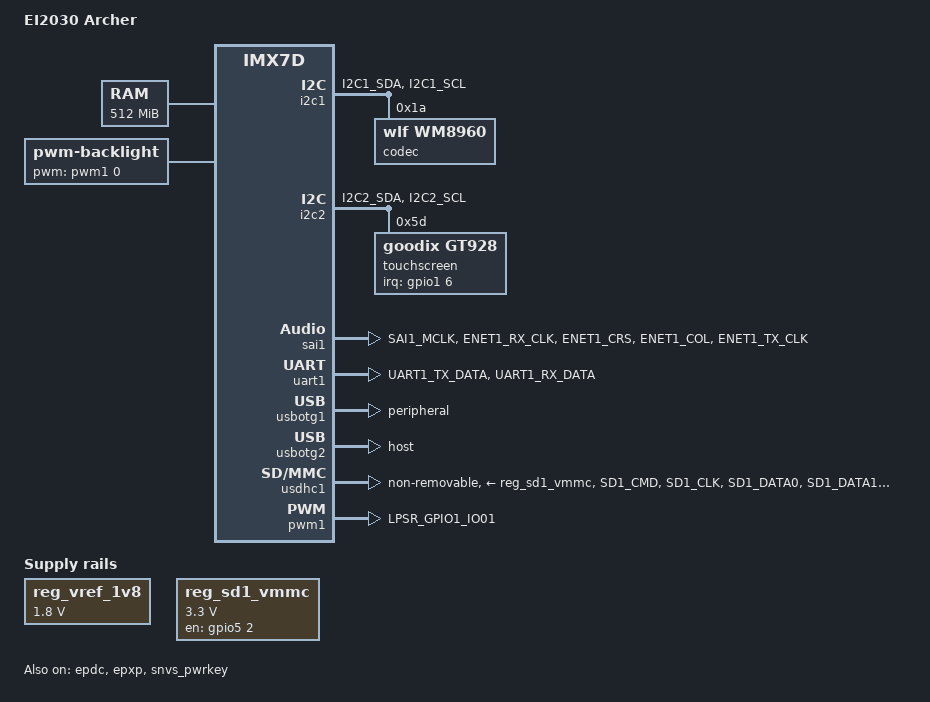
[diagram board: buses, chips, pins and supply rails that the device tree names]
// SPDX-License-Identifier: GPL-2.0+ OR MIT
//
// Copyright (C) 2015 Freescale Semiconductor, Inc.
// Copyright (C) 2021 Wenting Zhang

/dts-v1/;

#include "imx7d.dtsi"

/ {
	model = "EI2030 Archer";
	compatible = "ei2030,archer", "fsl,imx7d";

	chosen {
		stdout-path = &uart1;
	};

	memory@80000000 {
		device_type = "memory";
		reg = <0x80000000 0x20000000>;
	};

	reserved-memory {
		#address-cells = <1>;
		#size-cells = <1>;
		ranges;

		linux,cma {
			compatible = "shared-dma-pool";
			reusable;
			size = <0x8000000>;
			linux,cma-default;
		};
	};

	reg_vref_1v8: regulator-vref-1v8 {
		compatible = "regulator-fixed";
		regulator-name = "vref-1v8";
		regulator-min-microvolt = <1800000>;
		regulator-max-microvolt = <1800000>;
	};

	reg_sd1_vmmc: regulator-sd1-vmmc {
		compatible = "regulator-fixed";
		regulator-name = "VDD_SD1";
		regulator-min-microvolt = <3300000>;
		regulator-max-microvolt = <3300000>;
		gpio = <&gpio5 2 GPIO_ACTIVE_HIGH>;
		startup-delay-us = <200000>;
		off-on-delay-us = <20000>;
		enable-active-high;
	};

	backlight: backlight {
		compatible = "pwm-backlight";
		pwms = <&pwm1 0 5000000 0>;
		brightness-levels = <0 4 8 16 32 64 128 255>;
		default-brightness-level = <6>;
		status = "okay";
	};

	pxp_v4l2_out {
		compatible = "fsl,imx7d-pxp-v4l2", "fsl,imx6sx-pxp-v4l2", "fsl,imx6sl-pxp-v4l2";
		status = "okay";
	};

	sound {
		compatible = "fsl,imx7d-evk-wm8960", "fsl,imx-audio-wm8960";
		model = "wm8960-audio";
		cpu-dai = <&sai1>;
		audio-codec = <&codec>;
		codec-master;
		audio-routing =
			"Headphone Jack", "HP_L",
			"Headphone Jack", "HP_R",
			"Ext Spk", "SPK_LP",
			"Ext Spk", "SPK_LN",
			"Ext Spk", "SPK_RP",
			"Ext Spk", "SPK_RN",
			"LINPUT1", "Main MIC",
			"Main MIC", "MICB";
		assigned-clocks = <&clks IMX7D_AUDIO_MCLK_ROOT_SRC>,
				<&clks IMX7D_AUDIO_MCLK_ROOT_CLK>;
		assigned-clock-parents = <&clks IMX7D_PLL_AUDIO_POST_DIV>;
		assigned-clock-rates = <0>, <12288000>;
	};
};

&clks {
	assigned-clocks = <&clks IMX7D_PLL_AUDIO_POST_DIV>;
	assigned-clock-rates = <884736000>;
};

&epdc {
	pinctrl-names = "default";
	pinctrl-0 = <&pinctrl_epdc0>;
	/*V3P3-supply = <&V3P3_reg>;
	VCOM-supply = <&VCOM_reg>;
	DISPLAY-supply = <&DISPLAY_reg>;*/
	en-gpios = <&gpio4 14 GPIO_ACTIVE_HIGH>;
	status = "okay";
};

&epxp {
	status = "okay";
};

&i2c1 {
	pinctrl-names = "default";
	pinctrl-0 = <&pinctrl_i2c1>;
	status = "okay";

    codec: wm8960@1a {
		compatible = "wlf,wm8960";
		reg = <0x1a>;
		clocks = <&clks IMX7D_AUDIO_MCLK_ROOT_CLK>;
		clock-names = "mclk";
		wlf,shared-lrclk;
	};
};

&i2c2 {
	pinctrl-names = "default";
	pinctrl-0 = <&pinctrl_i2c2>;
	status = "okay";

	touchscreen@5d {
		compatible = "goodix,gt928";
		reg = <0x5d>;
		pinctrl-names = "default";
		pinctrl-0 = <&pinctrl_cap_touch>;
		interrupt-parent = <&gpio1>;
		interrupts = <6 IRQ_TYPE_EDGE_FALLING>;
		irq-gpios = <&gpio1 6 GPIO_ACTIVE_HIGH>;
		status = "okay";
	};

    tps6518x@68 {
        compatible = "ti,tps6518x";
        reg = <0x68>;
        status = "disabled";
        /*
        * power sequencing for TPS65180/65181
        */
        pwr_seq0 = <0xe1>; /* [Vddh-seq=3 | Vpos-seq=2 | Vee-seq=0 | Vneg-seq=1] */
        pwr_seq1 = <0x30>; /* [Vneg-dly1=3 |Vee-dly0=0] mSec */
        pwr_seq2 = <0x33>; /* [Vddh-dly3=3 | Vpos-dly2=3] mSec */
        /*
        * power sequencing for TPS65185/65186
        */
        upseq0 = <0xe4>;
        upseq1 = <0x55>;
        dwnseq0 = <0x1e>;
        dwnseq1 = <0xe0>;

        gpio_pmic_pwrgood = <&gpio2 31 0>;
        gpio_pmic_vcom_ctrl = <&gpio4 14 0>;
        gpio_pmic_wakeup = <&gpio2 23 0>;
        gpio_pmic_intr = <&gpio2 22 0>;
        gpio_pmic_powerup = <&gpio2 30 0>;

        regulators {
            DISPLAY_reg: DISPLAY {
                regulator-name = "DISPLAY";
            };

            VCOM_reg: VCOM {
                regulator-name = "VCOM";
                /* 2's-compliment, -4325000 */
                regulator-min-microvolt = <0xffbe0178>;
                /* 2's-compliment, -500000 */
                regulator-max-microvolt = <0xfff85ee0>;
            };

            V3P3_reg: V3P3 {
                regulator-name = "V3P3";
            };
        };
    };
};

&lcdif {
	pinctrl-names = "default";
	pinctrl-0 = <&pinctrl_lcdif>;
	display = <&display0>;
	status = "disabled";

	display0: display@0 {
		bits-per-pixel = <16>;
		bus-width = <24>;

		display-timings {
			native-mode = <&timing0>;

			timing0: timing0 {
				clock-frequency = <9200000>;
				hactive = <480>;
				vactive = <272>;
				hfront-porch = <8>;
				hback-porch = <4>;
				hsync-len = <41>;
				vback-porch = <2>;
				vfront-porch = <4>;
				vsync-len = <10>;
				hsync-active = <0>;
				vsync-active = <0>;
				de-active = <1>;
				pixelclk-active = <0>;
			};
		};
	};
};

&pcie {
	status = "disabled";
};

&sai1 {
	pinctrl-names = "default";
	pinctrl-0 = <&pinctrl_sai1>;
	assigned-clocks = <&clks IMX7D_SAI1_ROOT_SRC>,
			  <&clks IMX7D_SAI1_ROOT_CLK>;
	assigned-clock-parents = <&clks IMX7D_PLL_AUDIO_POST_DIV>;
	assigned-clock-rates = <0>, <36864000>;
	status = "okay";
};

&snvs_poweroff {
	status = "okay";
};

&snvs_pwrkey {
	status = "okay";
};

&uart1 {
	pinctrl-names = "default";
	pinctrl-0 = <&pinctrl_uart1>;
	assigned-clocks = <&clks IMX7D_UART1_ROOT_SRC>;
	assigned-clock-parents = <&clks IMX7D_OSC_24M_CLK>;
	status = "okay";
};

&usbotg1 {
    dr_mode = "peripheral";
	status = "okay";
};

&usbotg2 {
	dr_mode = "host";
	status = "okay";
};

&usdhc1 {
	pinctrl-names = "default", "state_100mhz", "state_200mhz";
	pinctrl-0 = <&pinctrl_usdhc1>, <&pinctrl_usdhc1_gpio>;
	pinctrl-1 = <&pinctrl_usdhc1_100mhz>, <&pinctrl_usdhc1_gpio>;
	pinctrl-2 = <&pinctrl_usdhc1_200mhz>, <&pinctrl_usdhc1_gpio>;
	vmmc-supply = <&reg_sd1_vmmc>;
    non-removable;
    no-1-8-v;
    broken-cd;
	status = "okay";
};

&iomuxc {
	pinctrl-names = "default";
	pinctrl-0 = <&pinctrl_hog>;

	archer {
		pinctrl_epdc0: epdcgrp0 {
			fsl,pins = <
				MX7D_PAD_EPDC_DATA00__EPDC_DATA0  0x2
				MX7D_PAD_EPDC_DATA01__EPDC_DATA1  0x2
				MX7D_PAD_EPDC_DATA02__EPDC_DATA2  0x2
				MX7D_PAD_EPDC_DATA03__EPDC_DATA3  0x2
				MX7D_PAD_EPDC_DATA04__EPDC_DATA4  0x2
				MX7D_PAD_EPDC_DATA05__EPDC_DATA5  0x2
				MX7D_PAD_EPDC_DATA06__EPDC_DATA6  0x2
				MX7D_PAD_EPDC_DATA07__EPDC_DATA7  0x2
				MX7D_PAD_EPDC_DATA08__EPDC_DATA8  0x2
				MX7D_PAD_EPDC_DATA09__EPDC_DATA9  0x2
				MX7D_PAD_EPDC_DATA10__EPDC_DATA10 0x2
				MX7D_PAD_EPDC_DATA11__EPDC_DATA11 0x2
				MX7D_PAD_EPDC_DATA12__EPDC_DATA12 0x2
				MX7D_PAD_EPDC_DATA13__EPDC_DATA13 0x2
				MX7D_PAD_EPDC_DATA14__EPDC_DATA14 0x2
				MX7D_PAD_EPDC_DATA15__EPDC_DATA15 0x2
				MX7D_PAD_EPDC_SDCLK__EPDC_SDCLK   0x2
				MX7D_PAD_EPDC_SDLE__EPDC_SDLE     0x2
				MX7D_PAD_EPDC_SDOE__EPDC_SDOE     0x2
				MX7D_PAD_EPDC_SDSHR__EPDC_SDSHR   0x2
				MX7D_PAD_EPDC_SDCE0__EPDC_SDCE0   0x2
				MX7D_PAD_EPDC_SDCE1__EPDC_SDCE1   0x2
				MX7D_PAD_EPDC_GDCLK__EPDC_GDCLK   0x2
				MX7D_PAD_EPDC_GDOE__EPDC_GDOE     0x2
				MX7D_PAD_EPDC_GDRL__EPDC_GDRL     0x2
				MX7D_PAD_EPDC_GDSP__EPDC_GDSP     0x2
			>;
		};

		pinctrl_hog: hoggrp {
			fsl,pins = <
				MX7D_PAD_I2C4_SCL__GPIO4_IO14		0x80000000  /* epd_pwr_en */
			>;
		};

		pinctrl_i2c1: i2c1grp {
			fsl,pins = <
				MX7D_PAD_I2C1_SDA__I2C1_SDA		0x4000007f
				MX7D_PAD_I2C1_SCL__I2C1_SCL		0x4000007f
			>;
		};

		pinctrl_i2c2: i2c2grp {
			fsl,pins = <
				MX7D_PAD_I2C2_SDA__I2C2_SDA		0x4000007f
				MX7D_PAD_I2C2_SCL__I2C2_SCL		0x4000007f
			>;
		};

		pinctrl_lcdif: lcdifgrp {
			fsl,pins = <
				MX7D_PAD_LCD_DATA00__LCD_DATA0		0x79
				MX7D_PAD_LCD_DATA01__LCD_DATA1		0x79
				MX7D_PAD_LCD_DATA02__LCD_DATA2		0x79
				MX7D_PAD_LCD_DATA03__LCD_DATA3		0x79
				MX7D_PAD_LCD_DATA04__LCD_DATA4		0x79
				MX7D_PAD_LCD_DATA05__LCD_DATA5		0x79
				MX7D_PAD_LCD_DATA06__LCD_DATA6		0x79
				MX7D_PAD_LCD_DATA07__LCD_DATA7		0x79
				MX7D_PAD_LCD_DATA08__LCD_DATA8		0x79
				MX7D_PAD_LCD_DATA09__LCD_DATA9		0x79
				MX7D_PAD_LCD_DATA10__LCD_DATA10		0x79
				MX7D_PAD_LCD_DATA11__LCD_DATA11		0x79
				MX7D_PAD_LCD_DATA12__LCD_DATA12		0x79
				MX7D_PAD_LCD_DATA13__LCD_DATA13		0x79
				MX7D_PAD_LCD_DATA14__LCD_DATA14		0x79
				MX7D_PAD_LCD_DATA15__LCD_DATA15		0x79
				MX7D_PAD_LCD_DATA16__LCD_DATA16		0x79
				MX7D_PAD_LCD_DATA17__LCD_DATA17		0x79
				MX7D_PAD_LCD_DATA18__LCD_DATA18		0x79
				MX7D_PAD_LCD_DATA19__LCD_DATA19		0x79
				MX7D_PAD_LCD_DATA20__LCD_DATA20		0x79
				MX7D_PAD_LCD_DATA21__LCD_DATA21		0x79
				MX7D_PAD_LCD_DATA22__LCD_DATA22		0x79
				MX7D_PAD_LCD_DATA23__LCD_DATA23		0x79
				MX7D_PAD_LCD_CLK__LCD_CLK		0x79
				MX7D_PAD_LCD_ENABLE__LCD_ENABLE		0x79
				MX7D_PAD_LCD_VSYNC__LCD_VSYNC		0x79
				MX7D_PAD_LCD_HSYNC__LCD_HSYNC		0x79
				MX7D_PAD_LCD_RESET__LCD_RESET		0x79
			>;
		};

		pinctrl_sai1: sai1grp {
			fsl,pins = <
				MX7D_PAD_SAI1_MCLK__SAI1_MCLK           0x1f
				MX7D_PAD_ENET1_RX_CLK__SAI1_TX_BCLK     0x1f
				MX7D_PAD_ENET1_CRS__SAI1_TX_SYNC	0x1f
				MX7D_PAD_ENET1_COL__SAI1_TX_DATA0	0x30
				MX7D_PAD_ENET1_TX_CLK__SAI1_RX_DATA0	0x1f
			>;
		};

		pinctrl_uart1: uart1grp {
			fsl,pins = <
				MX7D_PAD_UART1_TX_DATA__UART1_DCE_TX	0x79
				MX7D_PAD_UART1_RX_DATA__UART1_DCE_RX	0x79
			>;
		};

		pinctrl_usdhc1_gpio: usdhc1_gpiogrp {
			fsl,pins = <
				MX7D_PAD_GPIO1_IO08__SD1_VSELECT	0x59 /* VSELECT */
			>;
		};

		pinctrl_usdhc1: usdhc1grp {
			fsl,pins = <
				MX7D_PAD_SD1_CMD__SD1_CMD		0x59
				MX7D_PAD_SD1_CLK__SD1_CLK		0x19
				MX7D_PAD_SD1_DATA0__SD1_DATA0		0x59
				MX7D_PAD_SD1_DATA1__SD1_DATA1		0x59
				MX7D_PAD_SD1_DATA2__SD1_DATA2		0x59
				MX7D_PAD_SD1_DATA3__SD1_DATA3		0x59
			>;
		};

		pinctrl_usdhc1_100mhz: usdhc1grp_100mhz {
			fsl,pins = <
				MX7D_PAD_SD1_CMD__SD1_CMD		0x5a
				MX7D_PAD_SD1_CLK__SD1_CLK		0x1a
				MX7D_PAD_SD1_DATA0__SD1_DATA0		0x5a
				MX7D_PAD_SD1_DATA1__SD1_DATA1		0x5a
				MX7D_PAD_SD1_DATA2__SD1_DATA2		0x5a
				MX7D_PAD_SD1_DATA3__SD1_DATA3		0x5a
			>;
		};

		pinctrl_usdhc1_200mhz: usdhc1grp_200mhz {
			fsl,pins = <
				MX7D_PAD_SD1_CMD__SD1_CMD		0x5b
				MX7D_PAD_SD1_CLK__SD1_CLK		0x1b
				MX7D_PAD_SD1_DATA0__SD1_DATA0		0x5b
				MX7D_PAD_SD1_DATA1__SD1_DATA1		0x5b
				MX7D_PAD_SD1_DATA2__SD1_DATA2		0x5b
				MX7D_PAD_SD1_DATA3__SD1_DATA3		0x5b
			>;
		};

		pinctrl_usdhc2: usdhc2grp {
			fsl,pins = <
				MX7D_PAD_SD2_CMD__SD2_CMD		0x59
				MX7D_PAD_SD2_CLK__SD2_CLK		0x19
				MX7D_PAD_SD2_DATA0__SD2_DATA0		0x59
				MX7D_PAD_SD2_DATA1__SD2_DATA1		0x59
				MX7D_PAD_SD2_DATA2__SD2_DATA2		0x59
				MX7D_PAD_SD2_DATA3__SD2_DATA3		0x59
			>;
		};

		pinctrl_usdhc2_100mhz: usdhc2grp_100mhz {
			fsl,pins = <
				MX7D_PAD_SD2_CMD__SD2_CMD		0x5a
				MX7D_PAD_SD2_CLK__SD2_CLK		0x1a
				MX7D_PAD_SD2_DATA0__SD2_DATA0		0x5a
				MX7D_PAD_SD2_DATA1__SD2_DATA1		0x5a
				MX7D_PAD_SD2_DATA2__SD2_DATA2		0x5a
				MX7D_PAD_SD2_DATA3__SD2_DATA3		0x5a
			>;
		};

		pinctrl_usdhc2_200mhz: usdhc2grp_200mhz {
			fsl,pins = <
				MX7D_PAD_SD2_CMD__SD2_CMD		0x5b
				MX7D_PAD_SD2_CLK__SD2_CLK		0x1b
				MX7D_PAD_SD2_DATA0__SD2_DATA0		0x5b
				MX7D_PAD_SD2_DATA1__SD2_DATA1		0x5b
				MX7D_PAD_SD2_DATA2__SD2_DATA2		0x5b
				MX7D_PAD_SD2_DATA3__SD2_DATA3		0x5b
			>;
		};
	};
};

&pwm1 {
	pinctrl-names = "default";
	pinctrl-0 = <&pinctrl_pwm1>;
	status = "okay";
};

&iomuxc_lpsr {
	pinctrl_cap_touch: captouchgrp {
		fsl,pins = <
			MX7D_PAD_LPSR_GPIO1_IO06__GPIO1_IO6	0x59 /* Touch Interrupt */
		>;
	};

	pinctrl_pwm1: pwm1grp {
		fsl,pins = <
			MX7D_PAD_LPSR_GPIO1_IO01__PWM1_OUT		0x30
		>;
	};
};
